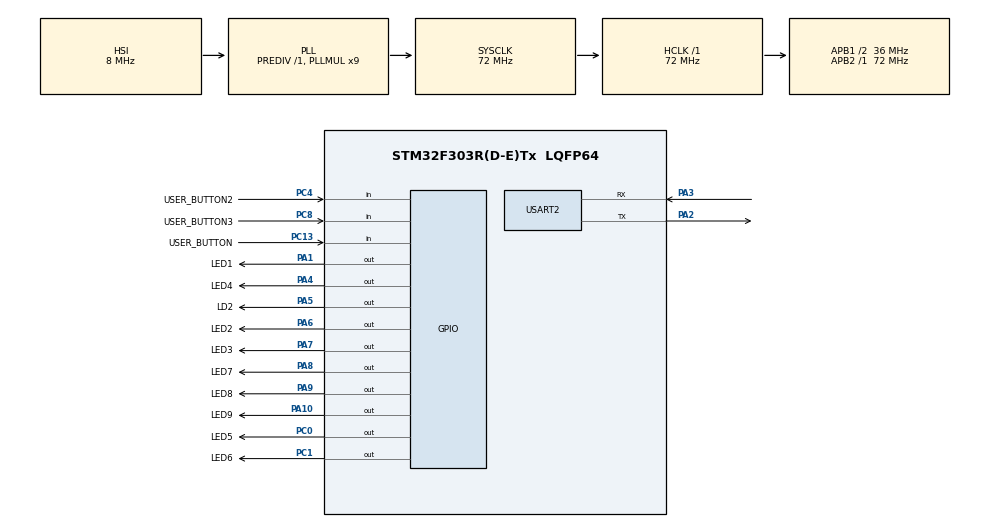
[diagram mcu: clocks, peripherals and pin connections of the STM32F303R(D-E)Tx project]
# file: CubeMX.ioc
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IWDG.Prescaler=IWDG_PRESCALER_32
Mcu.Family=STM32F3
Mcu.Name=STM32F303R(D-E)Tx
Mcu.Package=LQFP64
NVIC.PriorityGroup=NVIC_PRIORITYGROUP_4
PA1.GPIO_Label=LED1
PA1.GPIO_ModeDefaultOutputPP=GPIO_MODE_OUTPUT_PP
PA1.GPIO_PuPd=GPIO_NOPULL
PA1.Signal=GPIO_Output
PA10.GPIO_Label=LED9
PA10.Signal=GPIO_Output
PA13.Mode=Serial_Wire
PA13.Signal=SYS_JTMS-SWDIO
PA14.Mode=Serial_Wire
PA14.Signal=SYS_JTCK-SWCLK
PA2.Mode=Asynchronous
PA2.Signal=USART2_TX
PA3.Mode=Asynchronous
PA3.Signal=USART2_RX
PA4.GPIO_Label=LED4
PA4.Signal=GPIO_Output
PA5.GPIO_Label=LD2
PA5.Signal=GPIO_Output
PA6.GPIO_Label=LED2
PA6.Signal=GPIO_Output
PA7.GPIO_Label=LED3
PA7.Signal=GPIO_Output
PA8.GPIO_Label=LED7
PA8.Signal=GPIO_Output
PA9.GPIO_Label=LED8
PA9.Signal=GPIO_Output
PC0.GPIO_Label=LED5
PC0.Signal=GPIO_Output
PC1.GPIO_Label=LED6
PC1.Signal=GPIO_Output
PC13.GPIO_Label=USER_BUTTON
PC13.Signal=GPIO_Input
PC14-OSC32_IN.Mode=LSE-External-Oscillator
PC14-OSC32_IN.Signal=RCC_OSC32_IN
PC15-OSC32_OUT.Mode=LSE-External-Oscillator
PC15-OSC32_OUT.Signal=RCC_OSC32_OUT
PC4.GPIO_Label=USER_BUTTON2
PC4.GPIO_PuPd=GPIO_PULLUP
PC4.Signal=GPIO_Input
PC8.GPIO_Label=USER_BUTTON3
PC8.GPIO_PuPd=GPIO_PULLUP
PC8.Signal=GPIO_Input
ProjectManager.HeapSize=0x200
ProjectManager.StackSize=0x400
ProjectManager.TargetToolchain=CMake
RCC.AHBFreq_Value=72000000
RCC.APB1CLKDivider=RCC_HCLK_DIV2
RCC.APB1Freq_Value=36000000
RCC.APB1TimFreq_Value=72000000
RCC.APB2Freq_Value=72000000
RCC.APB2TimFreq_Value=72000000
RCC.CortexFreq_Value=72000000
RCC.HCLKFreq_Value=72000000
RCC.HSE_VALUE=8000000
RCC.HSI_VALUE=8000000
RCC.PLLMUL=RCC_PLL_MUL9
RCC.RTCClockSelection=RCC_RTCCLKSOURCE_LSE
RCC.SYSCLKFreq_VALUE=72000000
RCC.SYSCLKSourceVirtual=RCC_SYSCLKSOURCE_PLLCLK
RCC.USBFreq_Value=72000000
USART2.VirtualMode-Asynchronous=VM_ASYNC
VP_IWDG_VS_IWDG.Mode=IWDG_Activate
VP_RTC_VS_RTC_Activate.Mode=RTC_Enabled
board=custom

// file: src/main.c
/* USER CODE BEGIN Header */
/**
  ******************************************************************************
  * @file           : main.c
  * @brief          : Main program body
  ******************************************************************************
  * @attention
  *
  * Copyright (c) 2025 STMicroelectronics.
  * All rights reserved.
  *
  * This software is licensed under terms that can be found in the LICENSE file
  * in the root directory of this software component.
  * If no LICENSE file comes with this software, it is provided AS-IS.
  *
  ******************************************************************************
  */
/* USER CODE END Header */
#include "main.h"
#include "iwdg.h"
#include "rtc.h"
#include "usart.h"
#include "gpio.h"

/* USER CODE BEGIN Includes */
#include "stdbool.h"
#include "learninglib.h"
#include "string.h"
#include <stdio.h>
/* USER CODE END Includes */

void SystemClock_Config(void);

/* USER CODE BEGIN 0 */
int __io_putchar(int ch) //ustala output printf jako uart2
{

    HAL_UART_Transmit(&huart2, (uint8_t*)&ch, 1, HAL_MAX_DELAY);
    return 1;
}

/* USER CODE END 0 */

int main(void)
{

  /* MCU Configuration--------------------------------------------------------*/

  /* Reset of all peripherals, Initializes the Flash interface and the Systick. */
  HAL_Init();

  /* Configure the system clock */
  SystemClock_Config();

  /* Initialize all configured peripherals */
  MX_GPIO_Init();
  MX_USART2_UART_Init();
  MX_IWDG_Init();
  MX_RTC_Init();
  /* USER CODE BEGIN 2 */
  uint8_t value;
  printf("Hello World!\n");

  uint32_t timer_rtc = 0;
  RTC_TimeTypeDef time = {0};
  RTC_DateTypeDef date = {0};
  HAL_RTC_SetTime(&hrtc, &time, RTC_FORMAT_BIN);

  int i;

  for (i = 0; i < 10; i++) {
    HAL_GPIO_TogglePin(LD2_GPIO_Port, LD2_Pin);
    HAL_Delay(100);
  }
  /* USER CODE END 2 */

  /* Infinite loop */
  /* USER CODE BEGIN WHILE */
  while (1)
  {
    if (HAL_UART_Receive(&huart2, &value, 1, 0) == HAL_OK){
		  line_append(value);
	  }

	  buttonPressDetect();
	  ledLightMode();

    if(hasTimedOut(1000, &timer_rtc)){
      HAL_RTC_GetTime(&hrtc, &time, RTC_FORMAT_BIN);
      HAL_RTC_GetDate(&hrtc, &date, RTC_FORMAT_BIN);
      printf("RTC: %04d-%02d-%02d (%s), %02d:%02d:%02d\n", date.Year, date.Month, date.Date, getWeekdayName(date.WeekDay), time.Hours, time.Minutes, time.Seconds);
    }

    HAL_IWDG_Refresh(&hiwdg);

    /* USER CODE END WHILE */

  }
}

void SystemClock_Config(void)
{
  RCC_OscInitTypeDef RCC_OscInitStruct = {0};
  RCC_ClkInitTypeDef RCC_ClkInitStruct = {0};
  RCC_PeriphCLKInitTypeDef PeriphClkInit = {0};

  /** Configure LSE Drive Capability
  */
  HAL_PWR_EnableBkUpAccess();
  __HAL_RCC_LSEDRIVE_CONFIG(RCC_LSEDRIVE_LOW);

  /** Initializes the RCC Oscillators according to the specified parameters
  * in the RCC_OscInitTypeDef structure.
  */
  RCC_OscInitStruct.OscillatorType = RCC_OSCILLATORTYPE_HSI|RCC_OSCILLATORTYPE_LSI
                              |RCC_OSCILLATORTYPE_LSE;
  RCC_OscInitStruct.LSEState = RCC_LSE_ON;
  RCC_OscInitStruct.HSIState = RCC_HSI_ON;
  RCC_OscInitStruct.HSICalibrationValue = RCC_HSICALIBRATION_DEFAULT;
  RCC_OscInitStruct.LSIState = RCC_LSI_ON;
  RCC_OscInitStruct.PLL.PLLState = RCC_PLL_ON;
  RCC_OscInitStruct.PLL.PLLSource = RCC_PLLSOURCE_HSI;
  RCC_OscInitStruct.PLL.PLLMUL = RCC_PLL_MUL9;
  RCC_OscInitStruct.PLL.PREDIV = RCC_PREDIV_DIV1;
  if (HAL_RCC_OscConfig(&RCC_OscInitStruct) != HAL_OK)
  {
    Error_Handler();
  }

  /** Initializes the CPU, AHB and APB buses clocks
  */
  RCC_ClkInitStruct.ClockType = RCC_CLOCKTYPE_HCLK|RCC_CLOCKTYPE_SYSCLK
                              |RCC_CLOCKTYPE_PCLK1|RCC_CLOCKTYPE_PCLK2;
  RCC_ClkInitStruct.SYSCLKSource = RCC_SYSCLKSOURCE_PLLCLK;
  RCC_ClkInitStruct.AHBCLKDivider = RCC_SYSCLK_DIV1;
  RCC_ClkInitStruct.APB1CLKDivider = RCC_HCLK_DIV2;
  RCC_ClkInitStruct.APB2CLKDivider = RCC_HCLK_DIV1;

  if (HAL_RCC_ClockConfig(&RCC_ClkInitStruct, FLASH_LATENCY_2) != HAL_OK)
  {
    Error_Handler();
  }
  PeriphClkInit.PeriphClockSelection = RCC_PERIPHCLK_USART2|RCC_PERIPHCLK_RTC;
  PeriphClkInit.Usart2ClockSelection = RCC_USART2CLKSOURCE_PCLK1;
  PeriphClkInit.RTCClockSelection = RCC_RTCCLKSOURCE_LSE;
  if (HAL_RCCEx_PeriphCLKConfig(&PeriphClkInit) != HAL_OK)
  {
    Error_Handler();
  }
}

void Error_Handler(void)
{
  __disable_irq();
  while (1)
  {
  }
}
